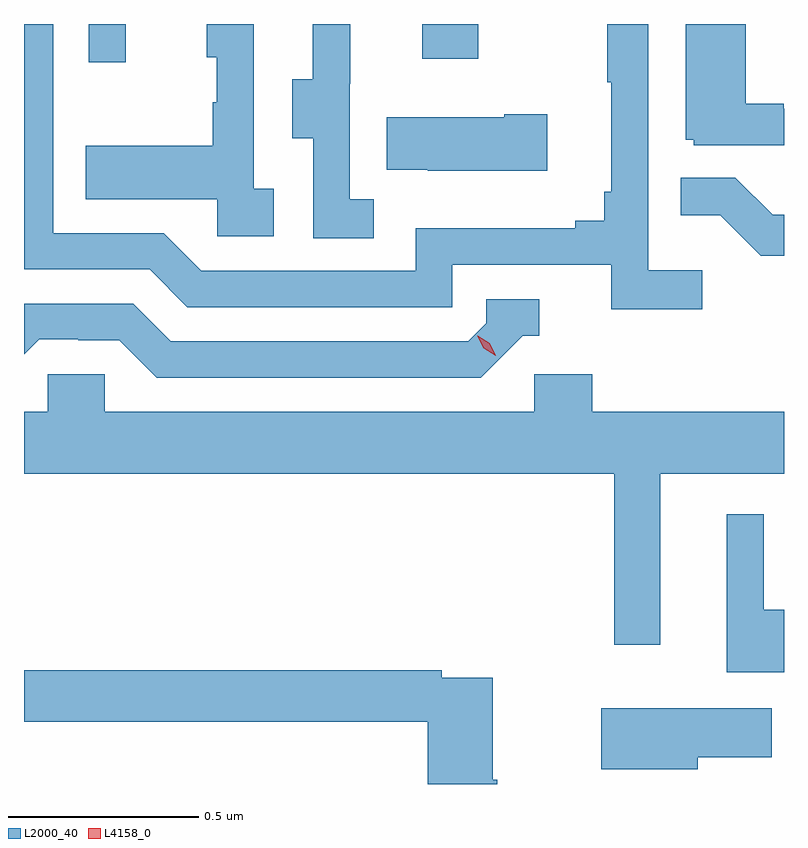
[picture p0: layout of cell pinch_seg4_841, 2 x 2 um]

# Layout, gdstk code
import gdstk
lib = gdstk.Library(unit=1e-6, precision=1e-09)
def R(c, l, rs):  # rectangles x0, y0, x1, y1
    for r in rs: c.add(gdstk.rectangle(r[:2], r[2:], *l))
def P(c, l, *ps):  # polygons
    for p in ps: c.add(gdstk.Polygon(p, *l))
L2000_40 = (2000, 40)
L4158_0 = (4158, 0)

pinch_seg4_841 = lib.new_cell('pinch_seg4_841')
R(pinch_seg4_841, L2000_40, [(818.229,800.568,818.327,800.668), (819.107,800.577,819.255,800.668)])
P(pinch_seg4_841, L2000_40, [(820.059,800.445),(820.058,800.445),(820.058,800.458),(819.958,800.458),(819.958,800.668),(819.8,800.668),(819.8,800.364),(819.822,800.364),(819.822,800.349),(820.059,800.349)],
  [(818.98,800.207),(818.916,800.207),(818.916,800.511),(818.918,800.511),(818.918,800.668),(818.819,800.668),(818.819,800.523),(818.765,800.523),(818.765,800.368),(818.82,800.368),(818.82,800.104),(818.98,800.104)],
  [(818.716,800.234),(818.664,800.234),(818.664,800.668),(818.54,800.668),(818.54,800.58),(818.566,800.58),(818.566,800.462),(818.556,800.462),(818.556,800.347),(818.221,800.347),(818.221,800.207),(818.568,800.207),(818.568,800.109),(818.716,800.109)],
  [(819.844,800.02),(819.702,800.02),(819.702,800.668),(819.594,800.668),(819.594,800.515),(819.605,800.515),(819.605,800.227),(819.586,800.227),(819.586,800.15),(819.509,800.15),(819.509,800.131),(819.09,800.131),(819.09,800.019),(818.526,800.019),(818.427,800.118),(818.136,800.118),(818.136,800.668),(818.059,800.668),(818.059,800.022),(818.39,800.022),(818.489,799.923),(819.186,799.923),(819.186,800.034),(819.605,800.034),(819.605,799.918),(819.844,799.918)],
  [(819.436,800.43),(819.323,800.43),(819.323,800.422),(819.013,800.422),(819.013,800.285),(819.121,800.285),(819.121,800.282),(819.436,800.282)],
  [(820.059,800.166),(820.029,800.166),(819.931,800.264),(819.787,800.264),(819.787,800.165),(819.891,800.165),(819.998,800.058),(820.059,800.058)],
  [(819.372,799.848),(819.415,799.848),(819.415,799.944),(819.276,799.944),(819.276,799.881),(819.228,799.833),(818.445,799.833),(818.346,799.932),(818.059,799.932),(818.059,799.799),(818.099,799.839),(818.202,799.839),(818.202,799.836),(818.309,799.836),(818.408,799.737),(819.261,799.737)],
  [(819.733,799.484),(820.059,799.484),(820.059,799.648),(819.554,799.648),(819.554,799.746),(819.402,799.746),(819.402,799.648),(818.271,799.648),(818.271,799.746),(818.121,799.746),(818.121,799.648),(818.059,799.648),(818.059,799.484),(819.612,799.484),(819.612,799.035),(819.733,799.035)],
  [(820.059,799.126),(820.006,799.126),(820.006,799.378),(819.908,799.378),(819.908,798.962),(820.059,798.962)],
  [(819.305,798.679),(819.292,798.679),(819.292,798.948),(819.158,798.948),(819.158,798.968),(818.059,798.968),(818.059,798.832),(819.122,798.832),(819.122,798.668),(819.305,798.668)],
  [(819.832,798.739),(820.027,798.739),(820.027,798.868),(819.578,798.868),(819.578,798.707),(819.832,798.707)])
P(pinch_seg4_841, L4158_0, [(819.3,799.795),(819.269,799.815),(819.252,799.848),(819.252,799.848),(819.253,799.848),(819.284,799.828),(819.3,799.796),(819.3,799.795)])

lib.write_gds('pinch_seg4_841.gds')
